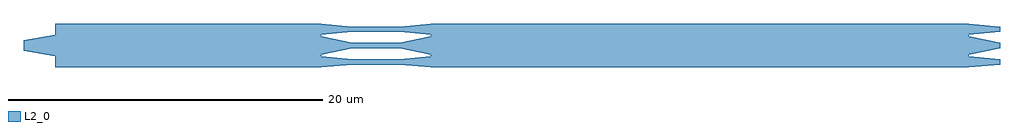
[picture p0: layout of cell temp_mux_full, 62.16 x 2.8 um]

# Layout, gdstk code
import gdstk
lib = gdstk.Library(unit=1e-6, precision=1e-09)
def R(c, l, rs):  # rectangles x0, y0, x1, y1
    for r in rs: c.add(gdstk.rectangle(r[:2], r[2:], *l))
def P(c, l, *ps):  # polygons
    for p in ps: c.add(gdstk.Polygon(p, *l))
L2_0 = (2, 0)

temp_mux_full = lib.new_cell('temp_mux_full')
R(temp_mux_full, L2_0, [(-29.08,-1.4,-12.16,1.4), (-5.16,-1.4,29.08,1.4), (-10.16,-1.213,-7.16,-0.863), (-10.16,-0.175,-7.16,0.175), (-10.16,0.873,-7.16,1.203)])
P(temp_mux_full, L2_0, [(-29.08,-0.7),(-31.08,-0.35),(-31.08,0.35),(-29.08,0.7)],
  [(-12.16,0.675),(-12.16,1.4),(-10.16,1.203),(-10.16,0.873)],
  [(-12.16,-0.575),(-12.16,0.575),(-10.16,0.175),(-10.16,-0.175)],
  [(-12.16,-1.4),(-12.16,-0.675),(-10.16,-0.863),(-10.16,-1.213)],
  [(-5.16,0.675),(-7.16,0.873),(-7.16,1.203),(-5.16,1.4)],
  [(-5.16,-0.575),(-7.16,-0.175),(-7.16,0.175),(-5.16,0.575)],
  [(-5.16,-1.4),(-7.16,-1.213),(-7.16,-0.863),(-5.16,-0.675)],
  [(29.08,0.675),(29.08,1.4),(31.08,1.203),(31.08,0.873)],
  [(29.08,-0.575),(29.08,0.575),(31.08,0.175),(31.08,-0.175)],
  [(29.08,-1.4),(29.08,-0.675),(31.08,-0.863),(31.08,-1.213)])

lib.write_gds('temp_mux_full.gds')
